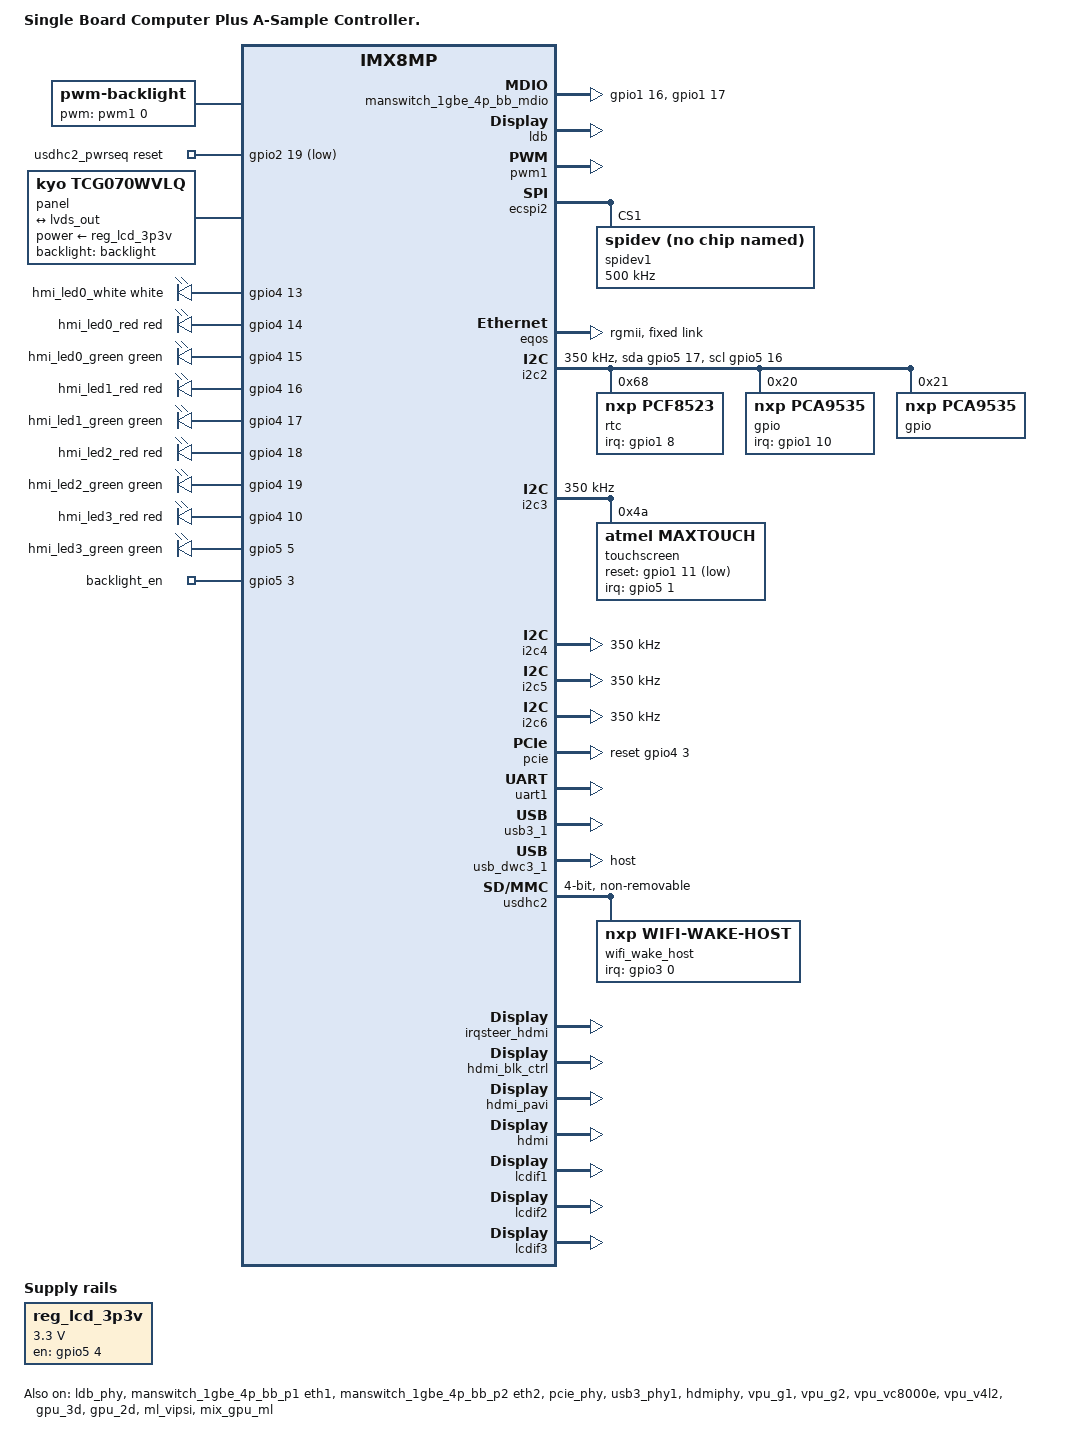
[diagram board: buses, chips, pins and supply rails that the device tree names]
// SPDX-License-Identifier: (GPL-2.0+ OR MIT)
//
// Copyright 2023 Prodrive Technologies

/*
 * This device tree describes the SBCP A-Series module.
 * It is based on the PTIC i.MX8MPlus building block.
 * TODO: Drop A-Sample DTS when B-Sample is ready.
 */

/*
 * TODO: Integrate the following interfaces
 * - 12V Holdup (LTC3350)
 */

/dts-v1/;

#include <dt-bindings/gpio/gpio.h>
#include <dt-bindings/leds/common.h>
#include <dt-bindings/interrupt-controller/irq.h>

// Get the building block
#include "../ptic/imx8mplus-v1/imx8mp-bb-v1.dtsi"

/ {
	model = "Single Board Computer Plus A-Sample Controller.";
	compatible = "pdt,imx8mp-sbcp" , "fsl,imx8mp";

	aliases {
		rtc0 = &rtc;
		rtc1 = &snvs_rtc;
		ethernet1 = &eqos;
	};

  chosen {
		stdout-path = &uart4;
	};

	backlight: backlight {
		compatible = "pwm-backlight";
		pwms = <&pwm1 0 5000000>;
		brightness-levels = <0 32 64 96 128 160 192 224 255>;
		default-brightness-level = <8>;
		status = "okay";
	};

	reg_lcd_3p3v: lcd3p3v {
		compatible = "regulator-fixed";
		regulator-name = "LCD3p3v";
		regulator-min-microvolt = <3300000>;
		regulator-max-microvolt = <3300000>;
		gpio = <&gpio5 4 GPIO_ACTIVE_HIGH>;
		enable-active-high;
		startup-delay-us = <60000>;
	};

	/* WIFI power */
	usdhc2_pwrseq: usdhc2_pwrseq {
		compatible = "mmc-pwrseq-simple";
		pinctrl-names = "default";
		pinctrl-0 = <&pinctrl_usdhc2_en>;
		reset-gpios = <&gpio2 19 GPIO_ACTIVE_LOW>;
	};

	panel {
		compatible = "kyo,tcg070wvlq", "lg,lb070wv8";
		backlight = <&backlight>;
		power-supply = <&reg_lcd_3p3v>;
		/* Display needs to be rotated to align with screen */
		rotation = <270>;
		status = "okay";

		port {
			panel_in: endpoint {
				remote-endpoint = <&lvds_out>;
			};
		};
	};

	led-controller {
		compatible = "gpio-leds";
		pinctrl-names = "default";
		pinctrl-0 = <&pinctrl_gpio_leds>;

		led-0 {
			label = "hmi_led0_white";
			color = <LED_COLOR_ID_WHITE>;
			gpios = <&gpio4 13 GPIO_ACTIVE_HIGH>;
			default-state = "on";
		};

		led-1 {
			label = "hmi_led0_red";
			color = <LED_COLOR_ID_RED>;
			gpios = <&gpio4 14 GPIO_ACTIVE_HIGH>;
			default-state = "on";
		};

		led-2 {
			label = "hmi_led0_green";
			color = <LED_COLOR_ID_GREEN>;
			gpios = <&gpio4 15 GPIO_ACTIVE_HIGH>;
			default-state = "on";
		};

		led-3 {
			label = "hmi_led1_red";
			color = <LED_COLOR_ID_RED>;
			gpios = <&gpio4 16 GPIO_ACTIVE_HIGH>;
			default-state = "on";
		};

		led-4 {
			label = "hmi_led1_green";
			color = <LED_COLOR_ID_GREEN>;
			gpios = <&gpio4 17 GPIO_ACTIVE_HIGH>;
			default-state = "on";
		};

		led-5 {
			label = "hmi_led2_red";
			color = <LED_COLOR_ID_RED>;
			gpios = <&gpio4 18 GPIO_ACTIVE_HIGH>;
			default-state = "on";
		};

		led-6 {
			label = "hmi_led2_green";
			color = <LED_COLOR_ID_GREEN>;
			gpios = <&gpio4 19 GPIO_ACTIVE_HIGH>;
			default-state = "on";
		};

		led-7 {
			label = "hmi_led3_red";
			color = <LED_COLOR_ID_RED>;
			gpios = <&gpio4 10 GPIO_ACTIVE_HIGH>;
			default-state = "on";
		};

		led-8 {
			label = "hmi_led3_green";
			color = <LED_COLOR_ID_GREEN>;
			gpios = <&gpio5 5 GPIO_ACTIVE_HIGH>;
			default-state = "on";
		};

		backlight_en {
			label = "backlight_en";
			gpios = <&gpio5 3 GPIO_ACTIVE_HIGH>;
			default-state = "on";
		};
	};

	/*
	 * The i.MX8M Plus FEC MDIO is not able to control managed Ethernet switches, as it is designed to do PHY's only.
	 * It doesn't understand a fixed link _with_ MDIO control configuration. Therefore we define a MDIO bitbang
	 * interface using the MDIO pins in GPIO mode. This is much slower and the jitter is dramatic. However, MDIO is a
	 * synchronous interface, and it is only used during link training and VLAN setup. Therefore it has minor effect on
	 * performance.
	 */

	manswitch_1gbe_4p_bb_mdio: mdio {
		pinctrl-names = "default";
		pinctrl-0 = <&pinctrl_bb_mdio>;
		compatible = "virtual,mdio-gpio";
		#address-cells = <1>;
		#size-cells = <0>;
		gpios = <&gpio1 16 (GPIO_ACTIVE_HIGH | GPIO_OPEN_DRAIN)>,
			<&gpio1 17 (GPIO_ACTIVE_HIGH | GPIO_OPEN_DRAIN)>;
	};
};

/* LVDS Display Bridge */
&ldb {
	status = "okay";

	lvds-channel@0 {
		fsl,data-mapping = "jeida";
		fsl,data-width = <24>;
		rotation = <270>;
		status = "okay";

		port@1 {
			reg = <1>;

			lvds_out: endpoint {
				remote-endpoint = <&panel_in>;
			};
		};
	};
};

&ldb_phy {
	status = "okay";
};

/* Display PWM */
&pwm1 {
	pinctrl-names = "default";
	pinctrl-0 = <&pinctrl_pwm1>;
	status = "okay";
};

/* Expansion Board SPI */
&ecspi2 {
	#address-cells = <1>;
	#size-cells = <0>;
	fsl,spi-num-chipselects = <1>;
	pinctrl-names = "default";
	pinctrl-0 = <&pinctrl_ecspi2>;
	cs-gpios = <&gpio5 13 GPIO_ACTIVE_LOW>;
	status = "okay";

	spidev1: spidev@1 {
		reg = <1>;
		compatible = "rohm,dh2228fv";
		pinctrl-0 = <&pinctrl_spidev>;
		spi-max-frequency = <500000>;
	};
};

&fec {
	/* Prevent eFuse MAC address property is used in FEC */
	/delete-property/ nvmem-cells;
	/delete-property/ nvmem-cells-names;
	/delete-property/ nvmem_macaddr_swap;
};

/* EQOS is used as the uplink to the Ethernet switch building block. It's set up as a fixed FD gigabit link */
&eqos {
	pinctrl-names = "default";
	pinctrl-0 = <&pinctrl_enet>;
	phy-mode = "rgmii";
	status = "okay";
	snps,force_thresh_dma_mode;
	snps,mtl-tx-config = <&mtl_tx_setup>;
	snps,mtl-rx-config = <&mtl_rx_setup>;
	/* Remove eFuse MAC address property */
	/delete-property/ nvmem-cells;
	/delete-property/ nvmem-cells-names;
	/delete-property/ nvmem_macaddr_swap;

	fixed-link {
		speed = <1000>;
		full-duplex;
	};

	mtl_tx_setup: tx-queues-config {
		snps,tx-queues-to-use = <5>;
		snps,tx-sched-sp;
		queue0 {
			snps,dcb-algorithm;
			snps,priority = <0x1>;
		};
		queue1 {
			snps,dcb-algorithm;
			snps,priority = <0x2>;
		};
		queue2 {
			snps,dcb-algorithm;
			snps,priority = <0x4>;
		};
		queue3 {
			snps,dcb-algorithm;
			snps,priority = <0x8>;
		};
		queue4 {
			snps,dcb-algorithm;
			snps,priority = <0xf0>;
		};
	};
	mtl_rx_setup: rx-queues-config {
		snps,rx-queues-to-use = <5>;
		snps,rx-sched-sp;
		queue0 {
			snps,dcb-algorithm;
			snps,priority = <0x1>;
			snps,map-to-dma-channel = <0>;
		};
		queue1 {
			snps,dcb-algorithm;
			snps,priority = <0x2>;
			snps,map-to-dma-channel = <1>;
		};
		queue2 {
			snps,dcb-algorithm;
			snps,priority = <0x4>;
			snps,map-to-dma-channel = <2>;
		};
		queue3 {
			snps,dcb-algorithm;
			snps,priority = <0x8>;
			snps,map-to-dma-channel = <3>;
		};
		queue4 {
			snps,dcb-algorithm;
			snps,priority = <0xf0>;
			snps,map-to-dma-channel = <4>;
		};
	};
};

/*
 * Include the Ethernet switch block after the definition of the MDIO interface, as the building block needs it to
 * create the switch on.
 */
#include "../ptic/manswitch-1gbe-4p-v1/manswitch-1gbe-4p-bb-v1.dtsi"

&manswitch_1gbe_4p_bb_switch {
	reset-gpios = <&gpio4 30 GPIO_ACTIVE_LOW>;
};

/* Set up the managed switch external interfaces. */
&manswitch_1gbe_4p_bb_uplink {
	ethernet = <&eqos>;
};

&manswitch_1gbe_4p_bb_p1 {
	label = "eth1";
	nvmem-cells = <&eth_mac1>;
	nvmem-cell-names = "mac-address";
	nvmem_macaddr_swap;
	status = "okay";
};

&manswitch_1gbe_4p_bb_p2 {
	label = "eth2";
	nvmem-cells = <&eth_mac2>;
	nvmem-cell-names = "mac-address";
	nvmem_macaddr_swap;
	status = "okay";
};

/* RTC & DIO */
&i2c2 {
	clock-frequency = <350000>;
	pinctrl-names = "default";
	pinctrl-0 = <&pinctrl_i2c2>;
	status = "okay";
	scl-gpios = <&gpio5 16 GPIO_ACTIVE_HIGH>;
	sda-gpios = <&gpio5 17 GPIO_ACTIVE_HIGH>;

	rtc: rtc@68 {
		compatible = "nxp,pcf8523";
		reg = <0x68>;
		pinctrl-names = "default";
		pinctrl-0 = <&pinctrl_rtc8523>;
		interrupt-parent = <&gpio1>;
		interrupts = <8 GPIO_ACTIVE_LOW>;
	};

	/* TCA9535 SW is the same as PCA9535. */
	/* DIO Input Expander */
	gpio@20 {
		compatible = "nxp,pca9535";
		reg = <0x20>;
		gpio-controller;
		#gpio-cells = <2>;
		pinctrl-names = "default";
		pinctrl-0 = <&pinctrl_tca9535>;
		interrupt-parent = <&gpio1>;
		interrupts = <10 IRQ_TYPE_LEVEL_LOW>;
	};

	/* TCA9535 SW is the same as PCA9535. */
	/* DIO Output Expander */
	gpio@21 {
		compatible = "nxp,pca9535";
		reg = <0x21>;
		gpio-controller;
		#gpio-cells = <2>;
	};
};

/* Touchscreen, USB3.0, USB2.0 */
&i2c3 {
	clock-frequency = <350000>;
	pinctrl-names = "default";
	pinctrl-0 = <&pinctrl_i2c3>;
	status = "okay";

	/* Disabled since not assembled on Prototype A Board */
	/* EEPROM USB2.0
	usbhub20: usbhub20@55 {
		pinctrl-names = "default";
		pinctrl-0 = <&pinctrl_usbhub20>;
		reg = <0x55>;
		reset-gpios = <&gpio4 9 GPIO_ACTIVE_LOW>;
	};*/

	/* Disabled since not assembled on Prototype A Board */
	/* EEPROM USB3.0
	usbhub30: usbhub30@55 {
		pinctrl-names = "default";
		pinctrl-0 = <&pinctrl_usbhub30>;
		reg = <0x55>;
		reset-gpios = <&gpio4 0 GPIO_ACTIVE_LOW>;
	};*/

	touchscreen@4a {
		pinctrl-names = "default";
		compatible = "atmel,maxtouch";
		reg = <0x4a>;
		interrupt-parent = <&gpio5>;
		interrupts = <1 IRQ_TYPE_LEVEL_LOW>;
		atmel,reset-gpios = <&gpio1 11 GPIO_ACTIVE_LOW>;
		pinctrl-0 = <&pinctrl_touchscreen>;
		/delete-property/ dmas;
		/delete-property/ dma-names;
	};
};

/* M.2 E-/M-key I2C/SMBUS */
&i2c4 {
	clock-frequency = <350000>;
	pinctrl-names = "default";
	pinctrl-0 = <&pinctrl_i2c4>;
	status = "okay";
};

/* 12v Holdup */
&i2c5 {
	clock-frequency = <350000>;
	pinctrl-names = "default";
	pinctrl-0 = <&pinctrl_i2c5>;
	status = "okay";
};

/* PCIe SMB */
&i2c6 {
	clock-frequency = <350000>;
	pinctrl-names = "default";
	pinctrl-0 = <&pinctrl_i2c6>;
	status = "okay";
};

&pcie{
	pinctrl-names = "default";
	pinctrl-0 = <&pinctrl_pcie>;
	reset-gpio = <&gpio4 3 GPIO_ACTIVE_HIGH>;
	ext_osc = <0>;
	clocks = <&clk IMX8MP_CLK_HSIO_ROOT>,
		 <&clk IMX8MP_CLK_PCIE_AUX>,
		 <&clk IMX8MP_CLK_HSIO_AXI>,
		 <&clk IMX8MP_CLK_PCIE_ROOT>;
	clock-names = "pcie", "pcie_aux", "pcie_phy", "pcie_bus";
	assigned-clocks = <&clk IMX8MP_CLK_HSIO_AXI>,
			  <&clk IMX8MP_CLK_PCIE_AUX>;
	assigned-clock-rates = <500000000>, <10000000>;
	assigned-clock-parents = <&clk IMX8MP_SYS_PLL2_500M>,
				 <&clk IMX8MP_SYS_PLL2_50M>;
	status = "okay";
};

&pcie_phy {
	ext_osc = <0>;
	status = "okay";
};

/* UART M.2 */
&uart1 {
	pinctrl-names = "default";
	pinctrl-0 = <&pinctrl_uart1>;
	fsl,uart-has-rtscts;
	// TODO: Verify this works
	host-wakeup-gpios = <&gpio1 13 GPIO_ACTIVE_LOW>;
	status = "okay";
};

/* USB2.0 */
&usb3_1 {
	status = "okay";
};

&usb3_phy1 {
	status = "okay";
};

&usb_dwc3_1 {
	dr_mode = "host";
	status = "okay";
};

/* USDCH M.2 */
&usdhc2 {
  pinctrl-names = "default", "state_100mhz";
	pinctrl-0 = <&pinctrl_usdhc2>;
	pinctrl-1 = <&pinctrl_usdhc2>;
	bus-width = <4>;
	keep-power-in-suspend;
	non-removable;
	wakeup-source;
	mmc-pwrseq = <&usdhc2_pwrseq>;
	fsl,sdio-async-interrupt-enabled;
	status = "okay";

	wifi_wake_host {
		compatible = "nxp,wifi-wake-host";
		interrupt-parent = <&gpio3>;
		interrupts = <0 IRQ_TYPE_LEVEL_LOW>;
		interrupt-names = "host-wake";
	};
};

&iomuxc {
	pinctrl-names = "default";
	pinctrl-0 = <&pinctrl_gpio>;
	pinctrl-0 = <&pinctrl_hog>;

	pinctrl_hog: hoggrp {
		fsl,pins = <
			MX8MP_IOMUXC_GPIO1_IO15__CCM_CLKO2  0x59 /* M2_SUSCLK */
			MX8MP_IOMUXC_GPIO1_IO00__ANAMIX_REF_CLK_32K  0x141 /* M2_M_PCIE_PEWAKE0_n */
		>;
	};

	pinctrl_bb_mdio: bbmdiogrp {
		fsl,pins = <
			MX8MP_IOMUXC_ENET_MDC__GPIO1_IO16  0x00000000 /* ENET_MDC_1V8 */
			MX8MP_IOMUXC_ENET_MDIO__GPIO1_IO17 0x00000000 /* ENET_MDIO_1V8 */
		>;
	};

	pinctrl_ecspi2: ecspi2grp {
		fsl,pins = <
			MX8MP_IOMUXC_ECSPI2_SCLK__ECSPI2_SCLK  0x00
			MX8MP_IOMUXC_ECSPI2_MOSI__ECSPI2_MOSI  0x00
			MX8MP_IOMUXC_ECSPI2_MISO__ECSPI2_MISO  0x00
			MX8MP_IOMUXC_ECSPI2_SS0__GPIO5_IO13    0x00 /* ECSPI2_SS0 */
		>;
	};

	pinctrl_spidev: spidevgrp {
		fsl,pins = <
			MX8MP_IOMUXC_SAI2_MCLK__GPIO4_IO27  0x00  /* SPI2_EXP_CTRL2 */
			MX8MP_IOMUXC_SAI2_TXC__GPIO4_IO25   0x00  /* SPI2_EXP_RST */
		>;
	};

	pinctrl_enet: enetgrp {
		fsl,pins = <
			MX8MP_IOMUXC_ENET_RD0__ENET_QOS_RGMII_RD0                  0x91
			MX8MP_IOMUXC_ENET_RD1__ENET_QOS_RGMII_RD1                  0x91
			MX8MP_IOMUXC_ENET_RD2__ENET_QOS_RGMII_RD2                  0x91
			MX8MP_IOMUXC_ENET_RD3__ENET_QOS_RGMII_RD3                  0x91
			MX8MP_IOMUXC_ENET_RXC__CCM_ENET_QOS_CLOCK_GENERATE_RX_CLK  0x91
			MX8MP_IOMUXC_ENET_RX_CTL__ENET_QOS_RGMII_RX_CTL            0x91
			MX8MP_IOMUXC_ENET_TD0__ENET_QOS_RGMII_TD0                  0x1f
			MX8MP_IOMUXC_ENET_TD1__ENET_QOS_RGMII_TD1                  0x1f
			MX8MP_IOMUXC_ENET_TD2__ENET_QOS_RGMII_TD2                  0x1f
			MX8MP_IOMUXC_ENET_TD3__ENET_QOS_RGMII_TD3                  0x1f
			MX8MP_IOMUXC_ENET_TX_CTL__ENET_QOS_RGMII_TX_CTL            0x1f
			MX8MP_IOMUXC_ENET_TXC__CCM_ENET_QOS_CLOCK_GENERATE_TX_CLK  0x1f
			MX8MP_IOMUXC_SAI3_RXD__GPIO4_IO30                          0x00 /* Switch reset (ETHSW_GRST_n) */
		>;
	};

	pinctrl_i2c2: i2c2grp {
		fsl,pins = <
			MX8MP_IOMUXC_I2C2_SCL__I2C2_SCL  0x40000000
			MX8MP_IOMUXC_I2C2_SDA__I2C2_SDA  0x40000000
		>;
	};

	pinctrl_i2c3: i2c3grp {
		fsl,pins = <
			MX8MP_IOMUXC_I2C3_SCL__I2C3_SCL  0x40000000
			MX8MP_IOMUXC_I2C3_SDA__I2C3_SDA  0x40000000
		>;
	};

	pinctrl_i2c4: i2c4grp {
		fsl,pins = <
			MX8MP_IOMUXC_SD1_DATA2__I2C4_SCL  0x40000000
			MX8MP_IOMUXC_SD1_DATA3__I2C4_SDA  0x40000000
		>;
	};

	pinctrl_i2c5: i2c5grp {
		fsl,pins = <
			MX8MP_IOMUXC_SAI5_RXD0__I2C5_SCL  0x40000000  /* I2C5_12VH_SCL */
			MX8MP_IOMUXC_SAI5_MCLK__I2C5_SDA  0x40000000  /* I2C5_12VH_SDA */
		>;
	};

	pinctrl_i2c6: i2c6grp {
		fsl,pins = <
			MX8MP_IOMUXC_SAI5_RXC__I2C6_SDA      0X40000000 /* I2C6_PCIE_SW_SDA */
			MX8MP_IOMUXC_SAI5_RXFS__I2C6_SCL     0X40000000 /* I2C6_PCIE_SW_SCL */
		>;
	};

	pinctrl_gpio_leds: gpioledgrp {
		fsl,pins = <
			MX8MP_IOMUXC_SAI1_TXD1__GPIO4_IO13      0x19 /* HMI_LED0_WHITE */
			MX8MP_IOMUXC_SAI1_TXD2__GPIO4_IO14      0x19 /* HMI_LED0_RE */
			MX8MP_IOMUXC_SAI1_TXD3__GPIO4_IO15      0x19 /* HMI_LED0_GR */
			MX8MP_IOMUXC_SAI1_TXD4__GPIO4_IO16      0x19 /* HMI_LED1_RE */
			MX8MP_IOMUXC_SAI1_TXD5__GPIO4_IO17      0x19 /* HMI_LED1_GR */
			MX8MP_IOMUXC_SAI1_TXD6__GPIO4_IO18      0x19 /* HMI_LED2_RE */
			MX8MP_IOMUXC_SAI1_TXD7__GPIO4_IO19      0x19 /* HMI_LED2_GR */
			MX8MP_IOMUXC_SAI1_TXFS__GPIO4_IO10      0x19 /* HMI_LED3_RE */
			MX8MP_IOMUXC_SPDIF_EXT_CLK__GPIO5_IO05  0x19 /* HMI_LED3_GR */
			MX8MP_IOMUXC_SPDIF_TX__GPIO5_IO03       0x19 /* DISP_3V3_EN */
			MX8MP_IOMUXC_SPDIF_RX__GPIO5_IO04       0x19 /* DISP_BLEN */
		>;
	};

	pinctrl_pcie: pciegrp {
		fsl,pins = <
			MX8MP_IOMUXC_GPIO1_IO14__GPIO1_IO14  0x16 /* PCIE_CLKREQ_n */
			MX8MP_IOMUXC_SAI1_RXD1__GPIO4_IO03   0x16 /* PCIE_SW_RST_n */
			MX8MP_IOMUXC_SAI5_RXD3__GPIO3_IO24   0x16 /* PCIE_SW_1V_PG */
		>;
	};

	pinctrl_pwm1: pwm1grp {
		fsl,pins = <
			MX8MP_IOMUXC_I2C4_SDA__PWM1_OUT  0x00 /* DISP_BLBRT_PWM */
		>;
	};

	pinctrl_rtc8523: rtc8523grp {
		fsl,pins = <
			MX8MP_IOMUXC_GPIO1_IO08__GPIO1_IO08  0x00 /* RTC_INT_n */
		>;
	};

	pinctrl_tca9535: tca9535grp {
		fsl,pins = <
			MX8MP_IOMUXC_GPIO1_IO10__GPIO1_IO10  0x00 /* I2C2_DI_INT_n */
		>;
	};

	pinctrl_usbhub20: usbhub20grp {
		fsl,pins = <
			MX8MP_IOMUXC_SAI1_RXD7__GPIO4_IO09  0x00 /* USB20_GRST_n */
		>;
	};

	pinctrl_usbhub30: usbhub30grp {
		fsl,pins = <
			MX8MP_IOMUXC_SAI1_RXFS__GPIO4_IO00  0x00 /* USB30_GRST_n */
		>;
	};

	pinctrl_touchscreen: touchscreengrp {
		fsl,pins = <
			MX8MP_IOMUXC_SAI3_TXD__GPIO5_IO01   0x00 /* TS_CHG_INT_n */
			MX8MP_IOMUXC_GPIO1_IO11__GPIO1_IO11 0x00 /* TS_RST_n */
		>;
	};

	pinctrl_uart1: uart1grp {
		fsl,pins = <
			MX8MP_IOMUXC_SD1_CLK__UART1_DTE_RX     0x00
			MX8MP_IOMUXC_SD1_CMD__UART1_DTE_TX     0x00
			MX8MP_IOMUXC_SD1_DATA0__UART1_DTE_CTS  0x00
			MX8MP_IOMUXC_SD1_DATA1__UART1_DTE_RTS  0x00
			MX8MP_IOMUXC_GPIO1_IO13__GPIO1_IO13    0x00 /* UART1_M2_WAKE_n */
		>;
	};

	pinctrl_usdhc2: usdhc2grp {
		fsl,pins = <
			MX8MP_IOMUXC_SD2_CLK__USDHC2_CLK      0x12
			MX8MP_IOMUXC_SD2_CMD__USDHC2_CMD      0x10
			MX8MP_IOMUXC_SD2_DATA0__USDHC2_DATA0  0x10
			MX8MP_IOMUXC_SD2_DATA1__USDHC2_DATA1  0x10
			MX8MP_IOMUXC_SD2_DATA2__USDHC2_DATA2  0x10
			MX8MP_IOMUXC_SD2_DATA3__USDHC2_DATA3  0x10
			MX8MP_IOMUXC_SD2_RESET_B__GPIO2_IO19  0x00 /* SD2_RESET */
		>;
	};

	pinctrl_usdhc2_en: usdhc2grp_en {
		fsl,pins = <
			MX8MP_IOMUXC_NAND_ALE__GPIO3_IO00     0x00 /* SD2_M2_WAKE_n */
		>;
	};

	pinctrl_gpio: pinctrlgpio {
		fsl,pins = <
			MX8MP_IOMUXC_GPIO1_IO05__GPIO1_IO05          0x00 /* M2_E_PCIE_PEWAKE0_n */
			MX8MP_IOMUXC_GPIO1_IO06__GPIO1_IO06          0x00 /* M2_E_DIS1_n */
			MX8MP_IOMUXC_GPIO1_IO07__GPIO1_IO07          0x00 /* M2_E_DIS2_n */
			MX8MP_IOMUXC_GPIO1_IO09__GPIO1_IO09          0x00 /* DIO_LED0_CTRL */
			MX8MP_IOMUXC_GPIO1_IO12__GPIO1_IO12          0x00 /* M2_E_POW_EN_n */
			MX8MP_IOMUXC_NAND_CE0_B__GPIO3_IO01          0x00 /* M2_E_ALERT_n */
			MX8MP_IOMUXC_NAND_DATA00__GPIO3_IO06         0x00 /* M2_M_ALERT_n */
			MX8MP_IOMUXC_SAI1_RXD2__GPIO4_IO04           0x00 /* M2_M_PLA_S3_n */
			MX8MP_IOMUXC_SAI1_RXD3__GPIO4_IO05           0x00 /* M2_M_PWRDIS_n */
			MX8MP_IOMUXC_SAI1_RXD4__GPIO4_IO06           0x00 /* M2_M_PLN */
			MX8MP_IOMUXC_SAI1_RXD6__GPIO4_IO08           0x00 /* M2_M_PEDET_n */
			MX8MP_IOMUXC_GPIO1_IO01__GPIO1_IO01          0x00 /* MPI_ESTOP_IN_n */
			MX8MP_IOMUXC_SAI1_RXC__GPIO4_IO01            0x00 /* PGD_NON_HLD */
			MX8MP_IOMUXC_SAI1_RXD0__GPIO4_IO02           0x00 /* EN_ISO */
			MX8MP_IOMUXC_SAI1_RXD5__GPIO4_IO07           0x00 /* 12VH_CAP_GD */
			MX8MP_IOMUXC_SAI1_TXC__GPIO4_IO11            0x00 /* EN_NON_HLD */
			MX8MP_IOMUXC_SAI5_RXD2__GPIO3_IO23           0x00 /* EXP_CON_HSI0a_n */
			MX8MP_IOMUXC_SAI3_TXFS__GPIO4_IO31           0x00 /* IMX8MP_PFO_n */
			MX8MP_IOMUXC_SAI5_RXD1__GPIO3_IO22           0x00 /* 12VH_ALERT_n */
			MX8MP_IOMUXC_SAI3_MCLK__GPIO5_IO02           0x00 /* IMX8M_FAN_CTRLa */
			MX8MP_IOMUXC_SAI3_RXC__GPIO4_IO29            0x00 /* HDMI_5V_OCP_n */
			MX8MP_IOMUXC_SAI3_TXC__GPIO5_IO00            0x00 /* IMX8M_FAN_SPEEDa */
			MX8MP_IOMUXC_SAI1_TXD0__GPIO4_IO12           0x00 /* HMI_BTN0 */
			MX8MP_IOMUXC_HDMI_DDC_SCL__HDMIMIX_HDMI_SCL  0x400001E1
			MX8MP_IOMUXC_HDMI_DDC_SDA__HDMIMIX_HDMI_SDA  0x400001E1
			MX8MP_IOMUXC_HDMI_HPD__HDMIMIX_HDMI_HPD      0x40000099
			MX8MP_IOMUXC_HDMI_CEC__HDMIMIX_HDMI_CEC      0x40000099
		>;
	};
};

/* HDMI Interface */
&irqsteer_hdmi {
	status = "okay";
};

&hdmi_blk_ctrl {
	status = "okay";
};

&hdmi_pavi {
	status = "okay";
};

&hdmi {
	status = "okay";
};

&hdmiphy {
	status = "okay";
};

/* LCDIF Interfaces */
&lcdif1 {
	status = "okay";
};

&lcdif2 {
	status = "okay";
};

&lcdif3 {
	status = "okay";
};

/* Enable GPUs and VPUs */
&vpu_g1 {
	status = "okay";
};

&vpu_g2 {
	status = "okay";
};

&vpu_vc8000e {
	status = "okay";
};

&vpu_v4l2 {
	status = "okay";
};

&gpu_3d {
	status = "okay";
};

&gpu_2d {
	status = "okay";
};

&ml_vipsi {
	status = "okay";
};

&mix_gpu_ml {
	status = "okay";
};
